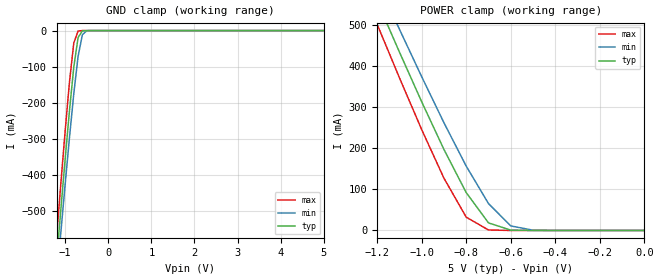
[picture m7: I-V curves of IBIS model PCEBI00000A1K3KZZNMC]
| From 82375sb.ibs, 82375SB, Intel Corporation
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[Model]   PCEBI00000A1K3KZZNMC
Model_type   Input
Vinl = 1.50V
Vinh = 3.50V
|   typ   min   max
C_comp   2.30pF   1.24pF   4.28pF
[Voltage range]   5.000V   4.750V   5.250V
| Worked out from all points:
|   GND clamp passes 1 mA (typ) near -0.60 V on its own axis
|   POWER clamp passes 1 mA (typ) near -0.60 V on its own axis
[GND_clamp]
|   Voltage   I(typ)   I(min)   I(max)
-5V       -6.39A     -6.15A     -6.62A
-1.2V     -638.8mA   -695.3mA   -574.2mA
-1.15V    -567.3mA   -627.4mA   -499.2mA
-1.1V     -495.8mA   -559.4mA   -424.2mA
-1.05V    -426mA     -492.7mA   -351.4mA
-1V       -356.1mA   -426mA     -278.6mA
-900mV    -222.5mA   -296.9mA   -142.5mA
-800mV    -102mA     -175.4mA   -34.73mA
-700mV    -19.37mA   -71.48mA   -1.2mA
-600mV    -825.8uA   -11.45mA   -18.06uA
-500mV    -23.54uA   -644.6uA   -285.6nA
5V        80.07pA    674.7nA    67.3pA
[POWER_clamp]
|   Voltage   I(typ)   I(min)   I(max)
-5V       5.54A      5.33A      5.74A
-1.2V     558.6mA    608.1mA    502mA
-1.15V    496.6mA    549.1mA    437mA
-1.1V     434.6mA    490.2mA    371.9mA
-1.05V    374mA      432.3mA    308.8mA
-1V       313.4mA    374.5mA    245.6mA
-900mV    197.3mA    262.3mA    127.3mA
-800mV    92.17mA    156.6mA    32.38mA
-700mV    18.49mA    65.49mA    1.19mA
-600mV    820.1uA    11.11mA    17.65uA
-500mV    23.1uA     640.3uA    252.3nA
0V        -53.55pA   648.9pA    -39.88pA
[Ramp]
|   typ   min   max
dV/dt_r   0.00V/0.00s   0.00V/0.00s   0.00V/0.00s
dV/dt_f   0.00V/0.00s   0.00V/0.00s   0.00V/0.00s
